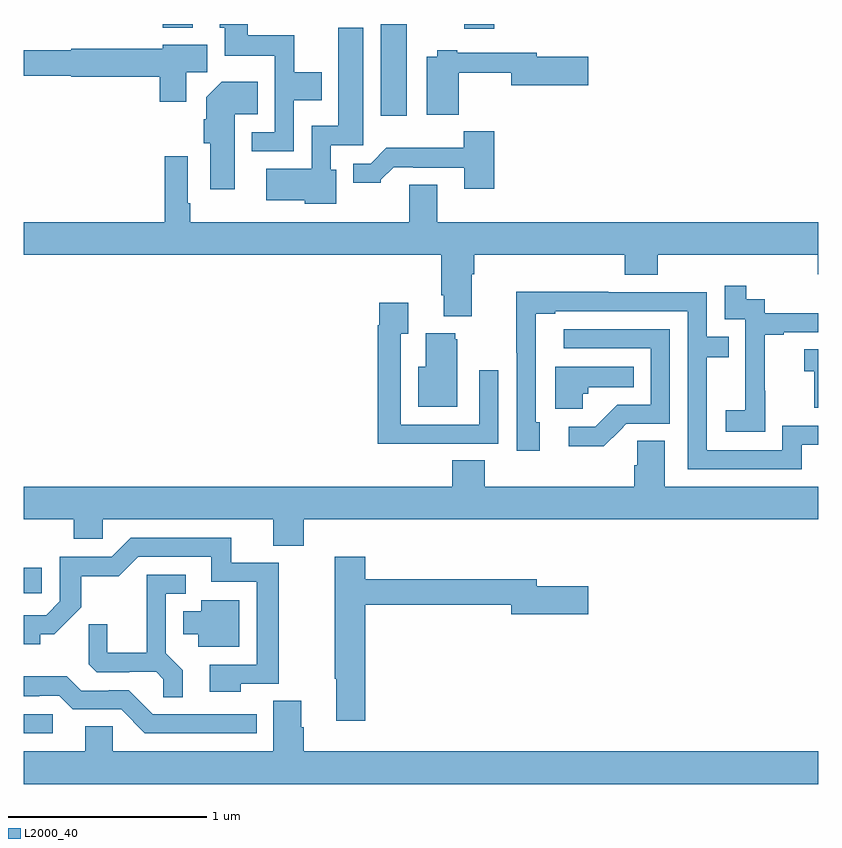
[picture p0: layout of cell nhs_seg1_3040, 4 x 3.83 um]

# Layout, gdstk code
import gdstk
lib = gdstk.Library(unit=1e-6, precision=1e-09)
def R(c, l, rs):  # rectangles x0, y0, x1, y1
    for r in rs: c.add(gdstk.rectangle(r[:2], r[2:], *l))
def P(c, l, *ps):  # polygons
    for p in ps: c.add(gdstk.Polygon(p, *l))
L2000_40 = (2000, 40)

nhs_seg1_3040 = lib.new_cell('nhs_seg1_3040')
R(nhs_seg1_3040, L2000_40, [(275,578.628,275.146,578.724), (275,579.333,275.091,579.462), (276.797,581.736,276.928,582.199), (277.217,582.174,277.37,582.199), (275.699,582.179,275.851,582.199)])
P(nhs_seg1_3040, L2000_40, [(276.36,581.816),(276.499,581.816),(276.499,581.956),(276.363,581.956),(276.363,582.142),(276.127,582.142),(276.127,582.199),(275.987,582.199),(275.987,582.18),(276.011,582.18),(276.011,582.038),(276.264,582.038),(276.264,581.655),(276.147,581.655),(276.147,581.559),(276.36,581.559)],
  [(276.574,581.466),(276.546,581.466),(276.546,581.589),(276.709,581.589),(276.709,582.181),(276.584,582.181),(276.584,581.686),(276.45,581.686),(276.45,581.47),(276.222,581.47),(276.222,581.312),(276.414,581.312),(276.414,581.294),(276.574,581.294)],
  [(275.818,581.956),(275.923,581.956),(275.923,582.094),(275.7,582.094),(275.7,582.075),(275.238,582.075),(275.238,582.067),(275,582.067),(275,581.938),(275.238,581.938),(275.238,581.933),(275.684,581.933),(275.684,581.808),(275.818,581.808)],
  [(277.19,581.953),(277.454,581.953),(277.454,581.891),(277.843,581.891),(277.843,582.033),(277.582,582.033),(277.582,582.054),(277.183,582.054),(277.183,582.067),(277.083,582.067),(277.083,582.034),(277.028,582.034),(277.028,581.741),(277.19,581.741)],
  [(276.061,581.744),(276.179,581.744),(276.179,581.908),(275.996,581.908),(275.918,581.83),(275.918,581.72),(275.906,581.72),(275.906,581.598),(275.939,581.598),(275.939,581.367),(276.061,581.367)],
  [(277.37,581.659),(277.215,581.659),(277.215,581.575),(276.826,581.575),(276.747,581.496),(276.659,581.496),(276.659,581.399),(276.798,581.399),(276.798,581.414),(276.862,581.478),(276.961,581.478),(276.961,581.475),(277.217,581.475),(277.217,581.37),(277.37,581.37)],
  [(277.255,580.94),(277.268,580.94),(277.268,581.036),(278.027,581.036),(278.027,580.937),(278.192,580.937),(278.192,581.036),(278.999,581.036),(278.999,580.938),(279,580.938),(279,581.2),(277.081,581.2),(277.081,581.39),(276.941,581.39),(276.941,581.2),(275.839,581.2),(275.839,581.296),(275.826,581.296),(275.826,581.533),(275.71,581.533),(275.71,581.2),(275,581.2),(275,581.036),(277.103,581.036),(277.103,580.834),(277.115,580.834),(277.115,580.727),(277.255,580.727)],
  [(278.733,580.351),(278.732,580.351),(278.732,580.635),(278.827,580.635),(278.827,580.647),(279,580.647),(279,580.743),(278.73,580.743),(278.73,580.812),(278.638,580.812),(278.638,580.882),(278.529,580.882),(278.529,580.713),(278.634,580.713),(278.634,580.484),(278.633,580.484),(278.633,580.255),(278.535,580.255),(278.535,580.145),(278.733,580.145)],
  [(278.917,580.08),(279,580.08),(279,580.176),(278.82,580.176),(278.82,580.053),(278.439,580.053),(278.439,580.522),(278.549,580.522),(278.549,580.623),(278.439,580.623),(278.439,580.848),(277.943,580.848),(277.943,580.85),(277.48,580.85),(277.48,580.543),(277.482,580.543),(277.482,580.05),(277.597,580.05),(277.597,580.194),(277.578,580.194),(277.578,580.74),(277.675,580.74),(277.675,580.752),(278.343,580.752),(278.343,579.957),(278.917,579.957)],
  [(277.073,580.086),(277.389,580.086),(277.389,580.456),(277.293,580.456),(277.293,580.182),(276.897,580.182),(276.897,580.639),(276.937,580.639),(276.937,580.795),(276.789,580.795),(276.789,580.682),(276.781,580.682),(276.781,580.085),(277.073,580.085)],
  [(278.005,580.156),(278.034,580.185),(278.253,580.185),(278.253,580.662),(277.719,580.662),(277.719,580.566),(278.157,580.566),(278.157,580.281),(277.988,580.281),(277.877,580.17),(277.743,580.17),(277.743,580.073),(277.921,580.073)],
  [(277.183,580.611),(277.172,580.611),(277.172,580.642),(277.025,580.642),(277.025,580.474),(276.986,580.474),(276.986,580.271),(277.183,580.271)],
  [(279,580.561),(278.931,580.561),(278.931,580.451),(278.98,580.451),(278.98,580.266),(279,580.266)],
  [(277.815,580.338),(277.842,580.338),(277.842,580.37),(278.072,580.37),(278.072,580.474),(277.676,580.474),(277.676,580.262),(277.815,580.262)],
  [(279,579.868),(278.227,579.868),(278.227,580.1),(278.088,580.1),(278.088,579.977),(278.075,579.977),(278.075,579.868),(277.322,579.868),(277.322,580.001),(277.157,580.001),(277.157,579.868),(275,579.868),(275,579.704),(275.251,579.704),(275.251,579.606),(275.397,579.606),(275.397,579.704),(276.257,579.704),(276.257,579.571),(276.41,579.571),(276.41,579.704),(279,579.704)],
  [(276.093,578.877),(276.283,578.877),(276.283,579.486),(276.044,579.486),(276.044,579.612),(275.538,579.612),(275.442,579.516),(275.181,579.516),(275.181,579.291),(275.112,579.222),(275,579.222),(275,579.075),(275.082,579.075),(275.082,579.125),(275.152,579.125),(275.29,579.262),(275.29,579.418),(275.479,579.418),(275.577,579.516),(275.945,579.516),(275.945,579.39),(276.174,579.39),(276.174,578.973),(275.937,578.973),(275.937,578.837),(276.093,578.837)],
  [(276.719,579.274),(277.454,579.274),(277.454,579.227),(277.843,579.227),(277.843,579.369),(277.582,579.369),(277.582,579.403),(276.719,579.403),(276.719,579.517),(276.565,579.517),(276.565,578.903),(276.572,578.903),(276.572,578.691),(276.719,578.691)],
  [(275.801,578.945),(275.715,579.031),(275.715,579.33),(275.815,579.33),(275.815,579.426),(275.618,579.426),(275.618,579.034),(275.42,579.034),(275.42,579.177),(275.326,579.177),(275.326,578.975),(275.367,578.934),(275.532,578.934),(275.532,578.937),(275.666,578.937),(275.703,578.9),(275.703,578.809),(275.801,578.809)],
  [(276.085,579.298),(275.894,579.298),(275.894,579.241),(275.804,579.241),(275.804,579.125),(275.879,579.125),(275.879,579.062),(276.085,579.062)],
  [(276.172,578.724),(275.649,578.724),(275.529,578.844),(275.428,578.844),(275.428,578.841),(275.289,578.841),(275.216,578.914),(275,578.914),(275,578.814),(275.078,578.814),(275.078,578.817),(275.178,578.817),(275.247,578.748),(275.49,578.748),(275.61,578.628),(276.172,578.628)],
  [(279,578.536),(276.41,578.536),(276.41,578.658),(276.397,578.658),(276.397,578.792),(276.257,578.792),(276.257,578.536),(275.448,578.536),(275.448,578.663),(275.309,578.663),(275.309,578.536),(275,578.536),(275,578.372),(279,578.372)])

lib.write_gds('nhs_seg1_3040.gds')
